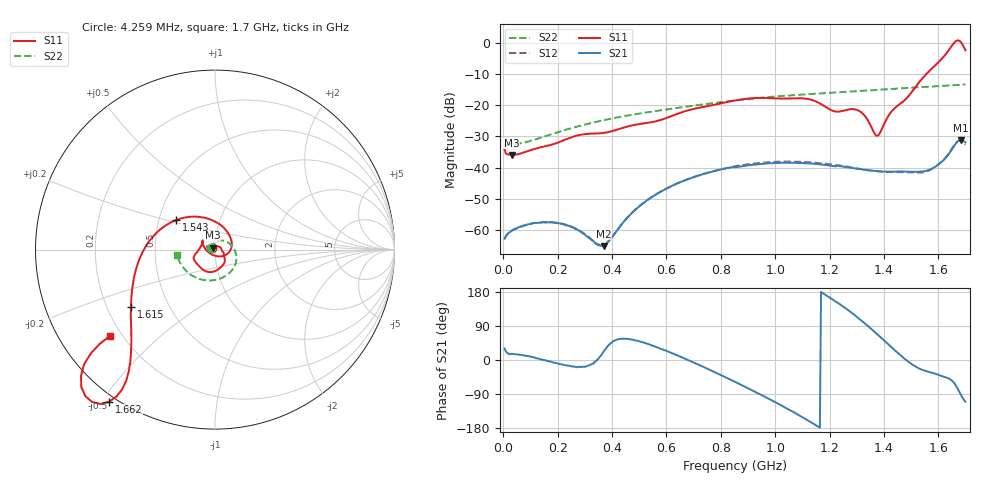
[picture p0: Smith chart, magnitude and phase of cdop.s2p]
! ZVRE, 3.52
! symbol freq-unit parameter-type data-format keyword impedance-ohm
#  HZ  S  RI  R  50
! freq  reS11  imS11  reS21  imS21  reS12  imS12  reS22  imS22
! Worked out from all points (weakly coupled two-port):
!   400 points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, 4.259 MHz to 1.7 GHz, reference 50 ohm
!   highest |S21| = -31.17 dB at 1.683 GHz (marker M1); lowest = -65.1 dB at 369.8 MHz (marker M2)
!   lowest |S11| = -35.9 dB at 29.76 MHz (marker M3), VSWR 1.03, Z = 48.8 + j0.972 ohm
!   |S11| at or under -10 dB: start of sweep to 1.556 GHz
!   |S22| runs from -32.7 to -13.4 dB; largest |S21 - S12| = 0.0023
!   S11 on the Smith chart (normalised r, x): 4.259 MHz: 0.97, +0.02; 1.543 GHz: 0.61, +0.22; 1.615 GHz: 0.30, -0.28; 1.662 GHz: -0.02, -0.52; 1.7 GHz: 0.15, -0.35
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4258978  -0.0158 0.0113  0.000629 0.000366  0.000628 0.000352  -0.0222 0.00826
2.975884e7  -0.0125 0.00997  0.000929 0.000273  0.000938 0.000245  -0.0221 0.00835
1.657581e8  0.0109 0.0198  0.00134 -6.86e-05  0.00133 -6.2e-05  -0.00765 0.0322
2.890075e8  0.0321 0.0108  0.000861 -0.000277  0.000875 -0.000297  0.0129 0.0459
3.69757e8  0.036 7.42e-05  0.000509 0.000224  0.000539 0.000212  0.0289 0.0499
4.760065e8  0.0457 -0.0136  0.00115 0.00156  0.00117 0.00155  0.0514 0.0483
5.69506e8  0.0495 -0.0271  0.00329 0.0021  0.00332 0.00208  0.0712 0.0402
6.927553e8  0.0543 -0.0665  0.00685 -0.000531  0.00687 -0.000551  0.0954 0.0195
8.542545e8  0.000539 -0.1195  0.0053 -0.00863  0.00556 -0.009  0.117 -0.0241
1.134753e9  -0.1161 -0.0357  -0.0112 -0.00293  -0.0116 -0.00338  0.086 -0.1245
1.219753e9  -0.0764 0.0217  -0.00958 0.0044  -0.0102 0.00418  0.052 -0.1503
1.309002e9  -0.0703 0.0404  -0.00311 0.00897  -0.00342 0.00898  0.00494 -0.1684
1.372752e9  -0.0179 -0.027  0.00305 0.00826  0.0027 0.00835  -0.0338 -0.1722
1.419501e9  0.0654 -0.0262  0.00666 0.00546  0.00639 0.00562  -0.0631 -0.1695
1.479001e9  0.0631 0.1058  0.00866 0.000231  0.00841 0.000444  -0.101 -0.1581
1.542751e9  -0.2175 0.1643  0.00777 -0.00385  0.00761 -0.0035  -0.1409 -0.1359
1.576751e9  -0.3865 0.0168  0.00803 -0.00532  0.00816 -0.00488  -0.1596 -0.1193
1.615e9  -0.4679 -0.3171  0.00932 -0.00856  0.00993 -0.00795  -0.1794 -0.0964
1.64475e9  -0.4805 -0.6783  0.0112 -0.014  0.0119 -0.0143  -0.1933 -0.0761
1.66175e9  -0.5907 -0.8478  0.0103 -0.0209  0.0099 -0.0218  -0.1996 -0.0633
1.683e9  -0.7467 -0.7036  -0.000661 -0.0276  -0.00232 -0.0264  -0.2069 -0.0463
1.7e9  -0.5872 -0.4825  -0.00863 -0.0239  -0.00866 -0.0216  -0.2123 -0.0315
